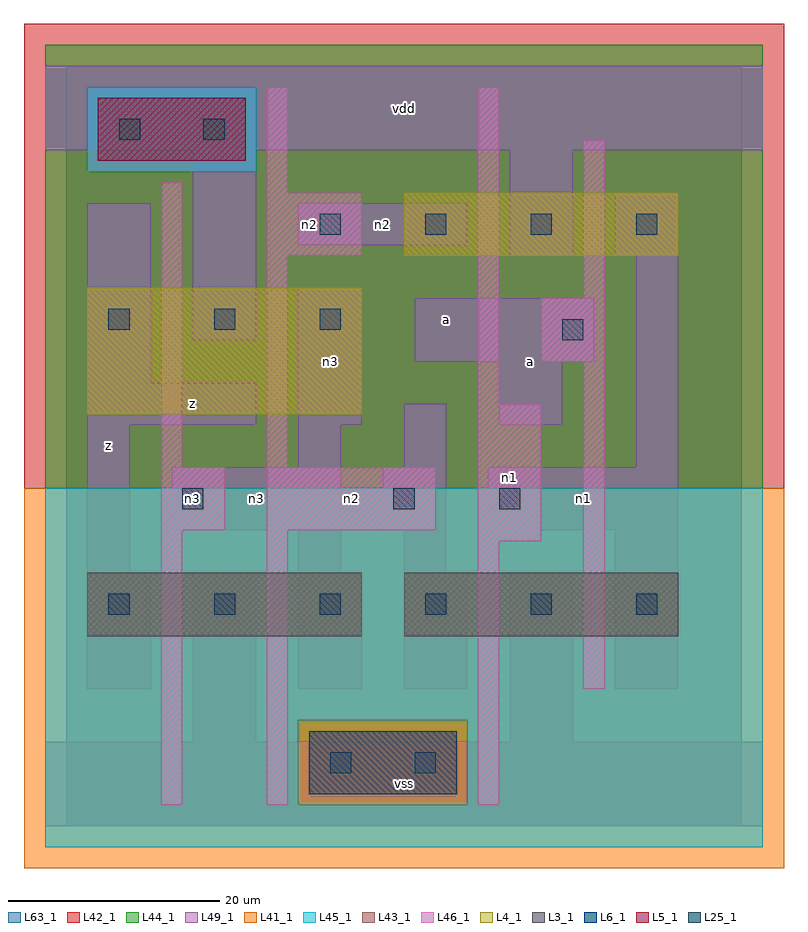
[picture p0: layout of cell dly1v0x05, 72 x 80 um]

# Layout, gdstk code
import gdstk
lib = gdstk.Library(unit=1e-6, precision=1e-09)
def R(c, l, rs):  # rectangles x0, y0, x1, y1
    for r in rs: c.add(gdstk.rectangle(r[:2], r[2:], *l))
def A(c, l, x, y, w, h, nx, ny, dx, dy):  # array of equal rectangles
    R(c, l, [(x+i*dx, y+j*dy, x+i*dx+w, y+j*dy+h) for i in range(nx) for j in range(ny)])
L3_1 = (3, 1)
L4_1 = (4, 1)
L5_1 = (5, 1)
L6_1 = (6, 1)
L25_1 = (25, 1)
L41_1 = (41, 1)
L42_1 = (42, 1)
L43_1 = (43, 1)
L44_1 = (44, 1)
L45_1 = (45, 1)
L46_1 = (46, 1)
L49_1 = (49, 1)
L63_1 = (63, 1)

dly1v0x05 = lib.new_cell('dly1v0x05')
R(dly1v0x05, L3_1, [(2,18,28,24), (32,18,58,24)])
R(dly1v0x05, L4_1, [(2,39,28,51), (32,54,58,60)])
R(dly1v0x05, L5_1, [(3,63,17,69)])
R(dly1v0x05, L6_1, [(23,3,37,9), (23,3,37,9)])
A(dly1v0x05, L25_1, 4, 20, 2, 2, 6, 1, 10, 0)
A(dly1v0x05, L25_1, 4, 47, 2, 2, 3, 1, 10, 0)
A(dly1v0x05, L25_1, 24, 56, 2, 2, 4, 1, 10, 0)
R(dly1v0x05, L25_1, [(25,5,27,7), (33,5,35,7), (11,30,13,32), (31,30,33,32), (41,30,43,32), (47,46,49,48), (5,65,7,67), (13,65,15,67)])
R(dly1v0x05, L41_1, [(-4,-4,68,32)])
R(dly1v0x05, L42_1, [(-4,32,68,76)])
R(dly1v0x05, L43_1, [(23,3,37,9), (2,18,28,24), (32,18,58,24), (2,39,28,51), (32,54,58,60), (3,63,17,69)])
R(dly1v0x05, L44_1, [(22,2,38,10), (-2,32,66,62), (-2,62,2,70), (18,62,66,70), (-2,70,66,74)])
R(dly1v0x05, L45_1, [(-2,-2,66,2), (-2,2,22,10), (38,2,66,10), (-2,10,66,32), (2,62,18,70)])
R(dly1v0x05, L46_1, [(9,2,11,28), (19,2,21,28), (39,2,41,27), (49,13,51,44), (39,27,45,40), (9,28,15,34), (19,28,35,34), (9,34,11,61), (19,34,21,54), (39,40,41,70), (45,44,51,50), (49,50,51,65), (19,54,28,60), (19,60,21,70)])
R(dly1v0x05, L49_1, [(-2,0,66,8), (12,8,18,24), (42,8,48,24), (2,13,8,24), (22,13,28,24), (32,13,38,24), (52,13,58,28), (2,24,6,38), (22,24,26,28), (32,24,36,28), (10,28,26,34), (30,28,36,34), (40,28,58,34), (22,34,26,38), (32,34,36,40), (54,34,58,54), (2,38,18,42), (22,38,28,51), (41,38,47,44), (2,42,8,59), (33,44,50,50), (12,46,18,64), (42,54,48,64), (52,54,58,60), (22,55,38,59), (-2,64,66,72)])
R(dly1v0x05, L63_1, [(0,0,64,72)])
dly1v0x05.add(gdstk.Label('n3', (12,31), layer=49, texttype=1))
dly1v0x05.add(gdstk.Label('n2', (27,31), layer=46, texttype=1))
dly1v0x05.add(gdstk.Label('n2', (23,57), layer=46, texttype=1))
dly1v0x05.add(gdstk.Label('n1', (42,33), layer=46, texttype=1))
dly1v0x05.add(gdstk.Label('z', (12,40), layer=49, texttype=1))
dly1v0x05.add(gdstk.Label('z', (4,36), layer=49, texttype=1))
dly1v0x05.add(gdstk.Label('n3', (18,31), layer=49, texttype=1))
dly1v0x05.add(gdstk.Label('n3', (25,44), layer=49, texttype=1))
dly1v0x05.add(gdstk.Label('vss', (32,4), layer=49, texttype=1))
dly1v0x05.add(gdstk.Label('a', (36,48), layer=49, texttype=1))
dly1v0x05.add(gdstk.Label('a', (44,44), layer=49, texttype=1))
dly1v0x05.add(gdstk.Label('n2', (30,57), layer=49, texttype=1))
dly1v0x05.add(gdstk.Label('vdd', (32,68), layer=49, texttype=1))
dly1v0x05.add(gdstk.Label('n1', (49,31), layer=49, texttype=1))

lib.write_gds('dly1v0x05.gds')
